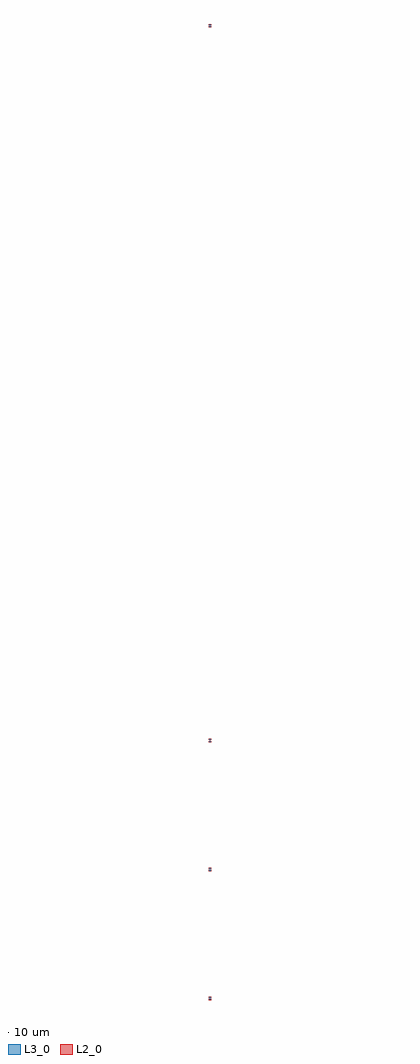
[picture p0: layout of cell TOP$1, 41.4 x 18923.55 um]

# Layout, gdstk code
import gdstk
lib = gdstk.Library(unit=1e-6, precision=1e-09)
def P(c, l, *ps):  # polygons
    for p in ps: c.add(gdstk.Polygon(p, *l))
L2_0 = (2, 0)
L3_0 = (3, 0)

q10gap = lib.new_cell('Q10GAP')
P(q10gap, L2_0, [(779.3,2253.3),(779.3,2274),(799.04,2284),(799.54,2284),(799.54,2286),(799.74,2286),(799.74,2284),(780,2274),(780,2254),(820,2254),(820,2274),(800.26,2284),(800.26,2286),(797.3,2286),(797.3,2286.15),(796.8,2286.15),(779.3,2296.15),(779.3,2316.15),(780,2316.15),(780,2296.15),(797.5,2286.15),(802.5,2286.15),(820,2296.15),(820,2316.15),(779.3,2316.15),(779.3,2316.85),(820.7,2316.85),(820.7,2296.15),(803.2,2286.15),(802.7,2286.15),(802.7,2286),(800.46,2286),(800.46,2284),(800.96,2284),(820.7,2274),(820.7,2253.3)],
  [(779.3,4753.3),(779.3,4774),(799.04,4784),(799.54,4784),(799.54,4786),(799.74,4786),(799.74,4784),(780,4774),(780,4754),(820,4754),(820,4774),(800.26,4784),(800.26,4786),(797.3,4786),(797.3,4786.15),(796.8,4786.15),(779.3,4796.15),(779.3,4816.15),(780,4816.15),(780,4796.15),(797.5,4786.15),(802.5,4786.15),(820,4796.15),(820,4816.15),(779.3,4816.15),(779.3,4816.85),(820.7,4816.85),(820.7,4796.15),(803.2,4786.15),(802.7,4786.15),(802.7,4786),(800.46,4786),(800.46,4784),(800.96,4784),(820.7,4774),(820.7,4753.3)],
  [(779.3,7253.3),(779.3,7274),(799.04,7284),(799.54,7284),(799.54,7286),(799.74,7286),(799.74,7284),(780,7274),(780,7254),(820,7254),(820,7274),(800.26,7284),(800.26,7286),(797.3,7286),(797.3,7286.15),(796.8,7286.15),(779.3,7296.15),(779.3,7316.15),(780,7316.15),(780,7296.15),(797.5,7286.15),(802.5,7286.15),(820,7296.15),(820,7316.15),(779.3,7316.15),(779.3,7316.85),(820.7,7316.85),(820.7,7296.15),(803.2,7286.15),(802.7,7286.15),(802.7,7286),(800.46,7286),(800.46,7284),(800.96,7284),(820.7,7274),(820.7,7253.3)],
  [(779.3,21113.3),(779.3,21134),(799.04,21144),(799.54,21144),(799.54,21146),(799.74,21146),(799.74,21144),(780,21134),(780,21114),(820,21114),(820,21134),(800.26,21144),(800.26,21146),(797.3,21146),(797.3,21146.15),(796.8,21146.15),(779.3,21156.15),(779.3,21176.15),(780,21176.15),(780,21156.15),(797.5,21146.15),(802.5,21146.15),(820,21156.15),(820,21176.15),(779.3,21176.15),(779.3,21176.85),(820.7,21176.85),(820.7,21156.15),(803.2,21146.15),(802.7,21146.15),(802.7,21146),(800.46,21146),(800.46,21144),(800.96,21144),(820.7,21134),(820.7,21113.3)])

q10pin = lib.new_cell('Q10PIN')
P(q10pin, L3_0, [(780,2254),(780,2274),(799.74,2284),(799.74,2286),(800.26,2286),(800.26,2284),(820,2274),(820,2254)],
  [(797.5,2286.15),(780,2296.15),(780,2316.15),(820,2316.15),(820,2296.15),(802.5,2286.15)],
  [(780,4754),(780,4774),(799.74,4784),(799.74,4786),(800.26,4786),(800.26,4784),(820,4774),(820,4754)],
  [(797.5,4786.15),(780,4796.15),(780,4816.15),(820,4816.15),(820,4796.15),(802.5,4786.15)],
  [(780,7254),(780,7274),(799.74,7284),(799.74,7286),(800.26,7286),(800.26,7284),(820,7274),(820,7254)],
  [(797.5,7286.15),(780,7296.15),(780,7316.15),(820,7316.15),(820,7296.15),(802.5,7286.15)],
  [(780,21114),(780,21134),(799.74,21144),(799.74,21146),(800.26,21146),(800.26,21144),(820,21134),(820,21114)],
  [(797.5,21146.15),(780,21156.15),(780,21176.15),(820,21176.15),(820,21156.15),(802.5,21146.15)])

q10 = lib.new_cell('Q10')

top_1 = lib.new_cell('TOP$1')
top_1.add(gdstk.Reference(q10gap, (0,0)))
top_1.add(gdstk.Reference(q10pin, (0,0)))
top_1.add(gdstk.Reference(q10, (0,0)))

lib.write_gds('TOP_1.gds')
